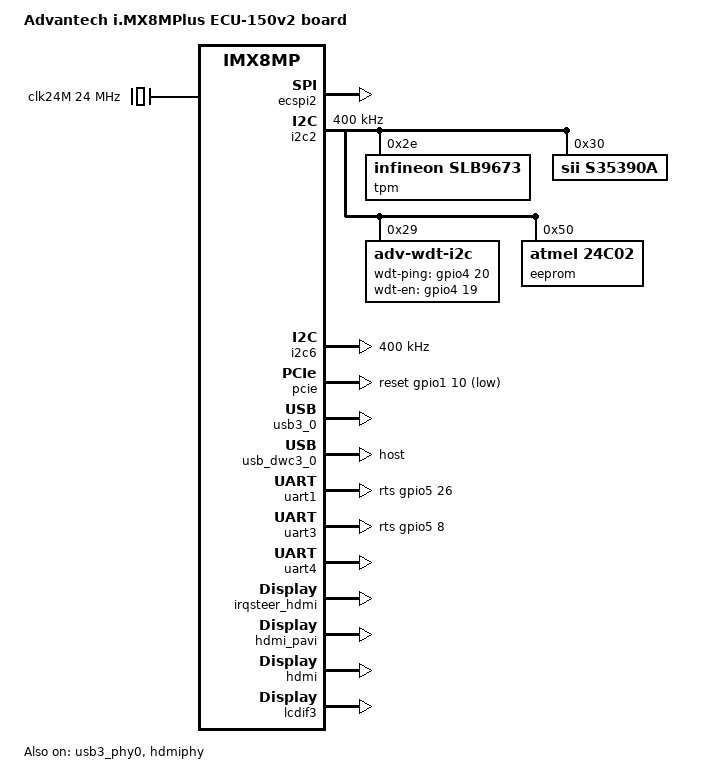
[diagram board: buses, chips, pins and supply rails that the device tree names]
// SPDX-License-Identifier: (GPL-2.0+ OR MIT)
/*
 * Advantech ECU-150v2 (i.MX8M Plus)
 *
 * Ported to eve-kernel v6.1.155 from
 *   meta-ecu-150v2/recipes-kernel/linux/linux-imx/
 *     0001-Port-ECU-150v2-to-linux-imx-6.12-on-deviceTree.patch
 *
 * The upstream layer patches imx8mp-evk.dts in place, which breaks every
 * NXP EVK variant DTB that #include's it. This file instead includes the
 * EVK board file unmodified and overrides only what differs, so both boards
 * can be built from one tree.
 *
 * The source patch targets NXP's downstream linux-imx 6.12 EVK DTS, which
 * carries many nodes that do not exist in the mainline 6.1 EVK DTS. Those
 * removal hunks are therefore no-ops here and are not reproduced.
 */

/dts-v1/;

#include "imx8mp-evk.dts"

/ {
	model = "Advantech i.MX8MPlus ECU-150v2 board";
	compatible = "advantech,imx8mp-ecu150v2", "fsl,imx8mp-evk", "fsl,imx8mp";

	aliases {
		mmc0 = &usdhc3;
		mmc1 = &usdhc2;
		/*
		 * Battery-backed S-35390A becomes rtc0 (hctosys source);
		 * the SoC SNVS RTC has no battery and is demoted to rtc1.
		 */
		rtc0 = &s35390a;
		rtc1 = &snvs_rtc;
	};

	clocks {
		clk24M: can_clock {
			compatible = "fixed-clock";
			#clock-cells = <0>;
			clock-frequency = <24000000>;
		};
	};

	adv_board {
		compatible = "custom,adv-board";
		board_name = "ECU150V2";
	};
};

/* The EVK leds node carries no label, so it is reached by path. */
&{/gpio-leds} {
	pinctrl-0 = <&pinctrl_ecu_gpios>;

	/delete-node/ status;

	led0: led-0 {
		label = "PL1";
		gpios = <&gpio1 13 GPIO_ACTIVE_HIGH>;
		default-state = "off";
	};

	led1: led-1 {
		label = "PL2";
		gpios = <&gpio1 14 GPIO_ACTIVE_HIGH>;
		default-state = "off";
	};

	led2: led-2 {
		label = "PL3";
		gpios = <&gpio1 15 GPIO_ACTIVE_HIGH>;
		default-state = "off";
	};

	com-mode-sel-0 {
		label = "com_mode_sel_0";
		gpios = <&gpio5 27 GPIO_ACTIVE_HIGH>;
		default-state = "off";
	};

	com-mode-sel-1 {
		label = "com_mode_sel_1";
		gpios = <&gpio5 9 GPIO_ACTIVE_HIGH>;
		default-state = "off";
	};

	m2-slot-b-key-power {
		label = "SLOT_POWER_2_1_USB_1_1_USB";
		gpios = <&gpio1 5 GPIO_ACTIVE_HIGH>;
		default-state = "on";
	};

	m2-slot-b-key-reset {
		label = "SLOT_RESET_2_1_USB_1_1_USB";
		gpios = <&gpio4 29 GPIO_ACTIVE_HIGH>;
		default-state = "off";
	};
};

/*
 * Thermal trip points. The source patch edits imx8mp.dtsi directly, which
 * would also change EPC-R3720 and every other i.MX8MP board in this tree;
 * the labelled trip nodes are overridden here instead.
 */
&cpu_alert0 {
	temperature = <100000>;
};

&cpu_crit0 {
	temperature = <100000>;
};

&soc_alert0 {
	temperature = <100000>;
};

&soc_crit0 {
	temperature = <100000>;
};

&ecspi2 {
	#address-cells = <1>;
	#size-cells = <0>;
	fsl,spi-num-chipselects = <1>;
	pinctrl-names = "default";
	pinctrl-0 = <&pinctrl_ecspi2 &pinctrl_ecspi2_cs>;
	cs-gpios = <&gpio5 13 GPIO_ACTIVE_LOW>;
	status = "okay";

	fm25@0 {
		compatible = "cypress,fm25";
		reg = <0>;
		spi-max-frequency = <48000000>;
		status = "disabled";
	};
};

&eqos {
	nvmem-cells = <&macaddr0>;
	nvmem-cell-names = "mac-address";
};

&fec {
	nvmem-cells = <&macaddr1>;
	nvmem-cell-names = "mac-address";
};

&i2c2 {
	clock-frequency = <400000>;
	pinctrl-names = "default";
	pinctrl-0 = <&pinctrl_i2c2>;
	status = "okay";

	/*
	 * Other Advantech product lines name this node st33htpi, which does not
	 * match the part actually fitted here.
	 */
	tpm: tpm@2e {
		compatible = "infineon,slb9673", "tcg,tpm-tis-i2c";
		reg = <0x2e>;
	};

	s35390a: s35390a@30 {
		compatible = "sii,s35390a";
		reg = <0x30>;
	};

	adv-wdt-i2c@29 {
		compatible = "adv-wdt-i2c";
		pinctrl-names = "default";
		pinctrl-0 = <&pinctrl_wdt430>;
		reg = <0x29>;
		wdt-ping-gpios = <&gpio4 20 GPIO_ACTIVE_HIGH>;
		wdt-en-gpios   = <&gpio4 19 GPIO_ACTIVE_HIGH>;
	};

	eeprom@50 {
		compatible = "atmel,24c02";
		reg = <0x50>;
		pagesize = <16>;
		#address-cells = <1>;
		#size-cells = <1>;

		/*
		 * 6.1 has no nvmem "fixed-layout" binding (added in 6.5), so the
		 * cells are direct children of the provider, as the pre-6.5 core
		 * expects.
		 */
		macaddr0: mac-address@0 {
			reg = <0x00 0x06>;
		};

		macaddr1: mac-address@6 {
			reg = <0x06 0x06>;
		};
	};
};

&i2c6 {
	clock-frequency = <400000>;
	pinctrl-names = "default";
	pinctrl-0 = <&pinctrl_i2c6>;
	status = "okay";
};

/*
 * PCIe pad ownership.
 *
 * The EVK drives MPCIE_3V3 from GPIO2_IO06 (SD1_DATA4) via reg_pcie0, and fixes
 * that pad in pcie0reggrp. ECU-150v2 wires MPCIE_3V3 permanently on and uses the
 * same pad as the PCIe host-wake input instead, so the source patch strips the
 * regulator's GPIO and pinctrl and marks it always-on. Without that, reg_pcie0
 * and &pcie both claim GPIO2_IO06 and the pad is muxed twice.
 */
&reg_pcie0 {
	/delete-property/ pinctrl-names;
	/delete-property/ pinctrl-0;
	/delete-property/ gpio;
	/delete-property/ enable-active-high;
	regulator-always-on;
};

/*
 * Both ECU-150v2 PCIe control pads live in pcie0grp: GPIO1_IO10 (reset, output)
 * and SD1_DATA4/GPIO2_IO06 (host wake, input pull-up). The EVK's SD1_DATA5 pad
 * is the regulator enable it no longer needs. Replacing fsl,pins wholesale also
 * leaves pcie0reggrp unreferenced, so its SD1_DATA4 entry is never applied.
 */
&pinctrl_pcie0 {
	fsl,pins = <
		MX8MP_IOMUXC_I2C4_SCL__PCIE_CLKREQ_B	0x60	/* open drain, pull up */
		MX8MP_IOMUXC_GPIO1_IO10__GPIO1_IO10	0x40	/* reset */
		MX8MP_IOMUXC_SD1_DATA4__GPIO2_IO06	0x1c4	/* host wake */
	>;
};

&pcie {
	reset-gpio = <&gpio1 10 GPIO_ACTIVE_LOW>;
	host-wake-gpio = <&gpio2 6 GPIO_ACTIVE_LOW>;
};

/*
 * USB.
 *
 * The EVK claims GPIO1_IO14 as the USB1 VBUS enable (pinctrl_usb1_vbus, applied
 * from usb_dwc3_1). On ECU-150v2 that pad is an LED (see gpio-leds and
 * pinctrl_gpio_led above), so the source patch drops pinctrl_usb1_vbus entirely
 * -- VBUS is not GPIO-controlled here. Keeping the EVK reference makes
 * usb_dwc3_1 and gpio-leds fight over pin 19 and the whole dwc3 pinctrl state is
 * rejected, which is why no xHCI controller registers at all.
 */
&usb_dwc3_1 {
	/delete-property/ pinctrl-names;
	/delete-property/ pinctrl-0;
};

/*
 * The mainline EVK DTS never enables the first USB controller, so EVE only ever
 * saw one. The source patch runs it as a host (its downstream base wired it to a
 * Type-C DRD switch that ECU-150v2 does not have), matching the reference BSP,
 * which registers xHCI at both 0x38100000 and 0x38200000.
 */
&usb3_phy0 {
	status = "okay";
};

&usb3_0 {
	status = "okay";
};

&usb_dwc3_0 {
	dr_mode = "host";
	status = "okay";
};

/*
 * EVK-only I/O expander. ECU-150v2 has no TCA6416 at i2c3 0x20 -- the reference
 * BSP does not instantiate one, and on EVE the driver probes and then fails its
 * first register write. Nothing references &pca6416, so disabling it is safe.
 */
&pca6416 {
	status = "disabled";
};

&uart1 {
	pinctrl-names = "default";
	pinctrl-0 = <&pinctrl_uart1 &pinctrl_uart1_rts>;
	linux,rs485-enabled-at-boot-time;
	rts-gpios = <&gpio5 26 GPIO_ACTIVE_HIGH>;
	rs485-rts-active-high;
	rs485-rx-during-tx;
	/delete-property/ dmas;
	/delete-property/ dma-names;
	status = "okay";
};

&uart3 {
	pinctrl-names = "default";
	pinctrl-0 = <&pinctrl_uart3 &pinctrl_uart3_rts>;
	assigned-clocks = <&clk IMX8MP_CLK_UART3>;
	assigned-clock-parents = <&clk IMX8MP_SYS_PLL1_80M>;
	linux,rs485-enabled-at-boot-time;
	rts-gpios = <&gpio5 8 GPIO_ACTIVE_HIGH>;
	rs485-rts-active-high;
	rs485-rx-during-tx;
	/delete-property/ dmas;
	/delete-property/ dma-names;
	status = "okay";
};

&uart4 {
	pinctrl-names = "default";
	pinctrl-0 = <&pinctrl_uart4>;
	assigned-clocks = <&clk IMX8MP_CLK_UART4>;
	assigned-clock-parents = <&clk IMX8MP_SYS_PLL1_80M>;
	uart-has-rtscts;
	status = "okay";
};

/*
 * HDMI. This board drives its HDMI connector from the i.MX8MP's native HDMI TX
 * (LCDIF3 -> HDMI-PAI/PVI -> Samsung HDMI PHY -> connector), not from the EVK's
 * MIPI-DSI -> ADV7535 bridge, which is not fitted here -- U-Boot's per-boot
 * "adv7535@3d: Can't find cec device" / "probe video device failed, ret -19"
 * comes from that missing chip and is unrelated to the Linux side.
 *
 * Values are taken verbatim from this board's own Yocto BSP device tree
 * (linux-imx 6.12, imx8mp-evk.dts:554-579 with the ECU-150v2 patch applied,
 * model "NXP i.MX8MPlus ECU150V2 board"), which is the only display
 * configuration verified on this hardware. imx8mp-rsb3720-a1.dts:510-533 in
 * this tree does the same for the EPC-R3720 and corroborates the wiring, but
 * its pad values and tx_vl_* PHY tweaks are specific to that board.
 *
 * irqsteer_hdmi is required here even though the BSP device tree never mentions
 * it: both lcdif3 (imx8mp.dtsi:1991) and hdmi (:2007) take their interrupts
 * through it, and this tree declares it status = "disabled" (:1964) whereas
 * NXP's 6.12 dtsi leaves it enabled. Without it both drivers sit in
 * /sys/kernel/debug/devices_deferred with "IRQ index 0 not found" (-EPROBE_DEFER)
 * and no DRM device is ever created. imx8mp-rsb3720-a1.dts:494 does the same.
 *
 * Deliberately NOT enabled:
 *   hdmi_blk_ctrl  imx8mp.dtsi:1450 declares it without a "status" property,
 *                  so it is already enabled; setting it again is redundant.
 *   lcdif1/lcdif2  they feed mipi_dsi and ldb respectively, and the BSP
 *                  deletes both bridges, so enabling them gains nothing.
 *
 * Needs CONFIG_IMX8MP_HDMI_PAVI, CONFIG_DRM_IMX_LCDIFV3 and
 * CONFIG_DRM_FBDEV_EMULATION in eve_defconfig. The last one is easy to miss:
 * without it DRM comes up but there is no /dev/fb0, so the console=tty0 in
 * EVE's cmdline stays on the dummy console and the screen remains blank.
 */
&irqsteer_hdmi {
	status = "okay";
};

&hdmi_pavi {
	status = "okay";
};

&hdmi {
	status = "okay";
};

&hdmiphy {
	status = "okay";
};

&lcdif3 {
	status = "okay";

	thres-low  = <1 2>;		/* (FIFO * 1 / 2) */
	thres-high = <3 4>;		/* (FIFO * 3 / 4) */
};

&iomuxc {
	/*
	 * HDMI DDC/HPD/CEC are claimed by the pinctrl controller itself (a "hog"
	 * group) because &hdmi carries no pinctrl-0 of its own. Neither
	 * imx8mp.dtsi nor imx8mp-evk.dts sets pinctrl-names/pinctrl-0 on
	 * &iomuxc, so declaring them here does not override anything.
	 * Pad values from the Yocto BSP device tree (imx8mp-evk.dts:836-843).
	 */
	pinctrl-names = "default";
	pinctrl-0 = <&pinctrl_hog>;

	pinctrl_hog: hoggrp {
		fsl,pins = <
			MX8MP_IOMUXC_HDMI_DDC_SCL__HDMIMIX_HDMI_SCL	0x400001c2
			MX8MP_IOMUXC_HDMI_DDC_SDA__HDMIMIX_HDMI_SDA	0x400001c2
			MX8MP_IOMUXC_HDMI_HPD__HDMIMIX_HDMI_HPD		0x40000010
			MX8MP_IOMUXC_HDMI_CEC__HDMIMIX_HDMI_CEC		0x40000010
		>;
	};

	pinctrl_ecu_gpios: ecugpiosgrp {
		fsl,pins = <
			MX8MP_IOMUXC_GPIO1_IO13__GPIO1_IO13	0x140
			MX8MP_IOMUXC_GPIO1_IO14__GPIO1_IO14	0x140
			MX8MP_IOMUXC_GPIO1_IO15__GPIO1_IO15	0x140
			MX8MP_IOMUXC_UART3_TXD__GPIO5_IO27	0x140
			MX8MP_IOMUXC_ECSPI1_SS0__GPIO5_IO09	0x140
			MX8MP_IOMUXC_GPIO1_IO05__GPIO1_IO05	0x140	/* m.2 b-key power enable */
			MX8MP_IOMUXC_SAI3_RXC__GPIO4_IO29	0x140	/* m.2 b-key reset */
			MX8MP_IOMUXC_GPIO1_IO07__GPIO1_IO07	0x140	/* m.2 b-key reset pcie */
			MX8MP_IOMUXC_GPIO1_IO09__GPIO1_IO09	0x140	/* m.2 e-key power enable */
			MX8MP_IOMUXC_GPIO1_IO06__GPIO1_IO06	0x140
			MX8MP_IOMUXC_NAND_DATA00__GPIO3_IO06	0x140
			MX8MP_IOMUXC_NAND_DATA01__GPIO3_IO07	0x140
		>;
	};

	/* Not carried by the source patch: I2C2 was already muxed in the
	 * downstream EVK DTS. Standard i.MX8MP I2C2 pads. */
	pinctrl_i2c2: i2c2grp {
		fsl,pins = <
			MX8MP_IOMUXC_I2C2_SCL__I2C2_SCL		0x400001c2
			MX8MP_IOMUXC_I2C2_SDA__I2C2_SDA		0x400001c2
		>;
	};

	pinctrl_i2c6: i2c6grp {
		fsl,pins = <
			MX8MP_IOMUXC_SAI5_RXC__I2C6_SDA		0x400001c2
			MX8MP_IOMUXC_SAI5_RXFS__I2C6_SCL	0x400001c2
		>;
	};

	/* Not carried by the source patch; pads implied by cs-gpios = <&gpio5 13>. */
	pinctrl_ecspi2: ecspi2grp {
		fsl,pins = <
			MX8MP_IOMUXC_ECSPI2_SCLK__ECSPI2_SCLK	0x82
			MX8MP_IOMUXC_ECSPI2_MOSI__ECSPI2_MOSI	0x82
			MX8MP_IOMUXC_ECSPI2_MISO__ECSPI2_MISO	0x82
		>;
	};

	pinctrl_ecspi2_cs: ecspi2csgrp {
		fsl,pins = <
			MX8MP_IOMUXC_ECSPI2_SS0__GPIO5_IO13	0x40000
		>;
	};

	/* Not carried by the source patch; standard UART1 pads. */
	pinctrl_uart1: uart1grp {
		fsl,pins = <
			MX8MP_IOMUXC_UART1_RXD__UART1_DCE_RX	0x140
			MX8MP_IOMUXC_UART1_TXD__UART1_DCE_TX	0x140
		>;
	};

	pinctrl_uart1_rts: uart1rtsgrp {
		fsl,pins = <
			MX8MP_IOMUXC_UART3_RXD__GPIO5_IO26	0x19
		>;
	};

	pinctrl_uart3: uart3grp {
		fsl,pins = <
			MX8MP_IOMUXC_ECSPI1_SCLK__UART3_DCE_RX	0x140
			MX8MP_IOMUXC_ECSPI1_MOSI__UART3_DCE_TX	0x140
		>;
	};

	pinctrl_uart3_rts: uart3rtsgrp {
		fsl,pins = <
			MX8MP_IOMUXC_ECSPI1_MISO__GPIO5_IO08	0x19
		>;
	};

	pinctrl_uart4: uart4grp {
		fsl,pins = <
			MX8MP_IOMUXC_UART4_RXD__UART4_DCE_RX	0x140
			MX8MP_IOMUXC_UART4_TXD__UART4_DCE_TX	0x140
			MX8MP_IOMUXC_NAND_DATA02__UART4_DTE_RTS	0x140
			MX8MP_IOMUXC_NAND_DATA03__UART4_DTE_CTS	0x140
		>;
	};

	pinctrl_wdt430: wdt430grp {
		fsl,pins = <
			MX8MP_IOMUXC_SAI1_MCLK__GPIO4_IO20	0x140	/* WDI */
			MX8MP_IOMUXC_SAI1_TXD7__GPIO4_IO19	0x140	/* WDT EN */
		>;
	};
};
